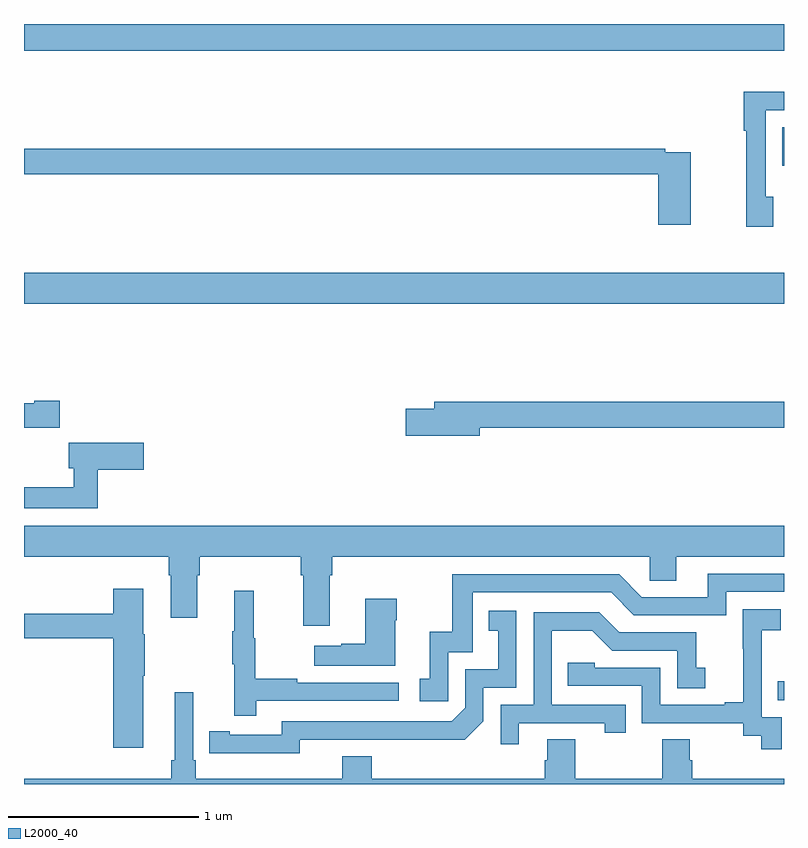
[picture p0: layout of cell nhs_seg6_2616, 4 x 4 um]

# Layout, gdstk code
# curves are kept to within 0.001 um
import gdstk
lib = gdstk.Library(unit=1e-6, precision=1e-09)
def R(c, l, rs):  # rectangles x0, y0, x1, y1
    for r in rs: c.add(gdstk.rectangle(r[:2], r[2:], *l))
def P(c, l, *ps):  # polygons
    for p in ps: c.add(gdstk.Polygon(p, *l))
L2000_40 = (2000, 40)

nhs_seg6_2616 = lib.new_cell('nhs_seg6_2616')
R(nhs_seg6_2616, L2000_40, [(270.967,919.941,271,920.042), (267,922.028,271,922.192), (270.992,922.754,271,922.957), (267,923.36,271,923.5)])
P(nhs_seg6_2616, L2000_40, [(270.943,922.59),(270.903,922.59),(270.903,923.046),(271,923.046),(271,923.144),(270.787,923.144),(270.787,922.939),(270.802,922.939),(270.802,922.434),(270.943,922.434)],
  [(270.508,922.824),(270.374,922.824),(270.374,922.844),(267,922.844),(267,922.708),(270.338,922.708),(270.338,922.443),(270.508,922.443)],
  [(267.187,921.518),(267.054,921.518),(267.054,921.505),(267,921.505),(267,921.376),(267.187,921.376)],
  [(269.398,921.376),(271,921.376),(271,921.512),(269.159,921.512),(269.159,921.476),(269.01,921.476),(269.01,921.334),(269.398,921.334)],
  [(267.389,921.154),(267.631,921.154),(267.631,921.296),(267.235,921.296),(267.235,921.161),(267.261,921.161),(267.261,921.061),(267,921.061),(267,920.952),(267.389,920.952)],
  [(267,920.696),(267.761,920.696),(267.761,920.6),(267.773,920.6),(267.773,920.376),(267.913,920.376),(267.913,920.6),(267.926,920.6),(267.926,920.696),(268.457,920.696),(268.457,920.6),(268.469,920.6),(268.469,920.334),(268.609,920.334),(268.609,920.6),(268.622,920.6),(268.622,920.696),(270.294,920.696),(270.294,920.569),(270.433,920.569),(270.433,920.696),(271,920.696),(271,920.86),(267,920.86)],
  [(269.232,920.193),(269.361,920.193),(269.361,920.508),(270.09,920.508),(270.21,920.388),(270.696,920.388),(270.696,920.511),(271,920.511),(271,920.607),(270.599,920.607),(270.599,920.484),(270.252,920.484),(270.132,920.604),(269.253,920.604),(269.253,920.302),(269.135,920.302),(269.135,920.055),(269.082,920.055),(269.082,919.935),(269.232,919.935)],
  [(267.628,920.071),(267.636,920.071),(267.636,920.289),(267.628,920.289),(267.628,920.527),(267.47,920.527),(267.47,920.395),(267,920.395),(267,920.266),(267.47,920.266),(267.47,919.692),(267.628,919.692)],
  [(268.223,919.938),(268.972,919.938),(268.972,920.034),(268.439,920.034),(268.439,920.054),(268.216,920.054),(268.216,920.268),(268.208,920.268),(268.208,920.518),(268.106,920.518),(268.106,920.305),(268.095,920.305),(268.095,920.131),(268.106,920.131),(268.106,919.86),(268.223,919.86)],
  [(268.954,920.363),(268.962,920.363),(268.962,920.476),(268.796,920.476),(268.796,920.237),(268.67,920.237),(268.67,920.227),(268.527,920.227),(268.527,920.123),(268.954,920.123)],
  [(270.987,919.851),(270.882,919.851),(270.882,920.081),(270.884,920.081),(270.884,920.309),(270.982,920.309),(270.982,920.419),(270.784,920.419),(270.784,920.213),(270.785,920.213),(270.785,919.93),(270.689,919.93),(270.689,919.917),(270.348,919.917),(270.348,920.112),(270.003,920.112),(270.003,920.139),(269.863,920.139),(269.863,920.016),(270.252,920.016),(270.252,919.821),(270.786,919.821),(270.786,919.753),(270.879,919.753),(270.879,919.683),(270.987,919.683)],
  [(268.452,919.734),(269.32,919.733),(269.418,919.83),(269.418,920.007),(269.592,920.007),(269.592,920.413),(269.446,920.413),(269.446,920.307),(269.495,920.307),(269.495,920.103),(269.322,920.103),(269.322,919.902),(269.25,919.83),(268.356,919.83),(268.356,919.758),(268.084,919.758),(268.084,919.778),(267.976,919.778),(267.976,919.662),(268.452,919.661)],
  [(269.605,919.821),(270.056,919.821),(270.056,919.77),(270.167,919.77),(270.167,919.917),(269.778,919.917),(269.778,920.306),(269.992,920.306),(270.096,920.202),(270.438,920.202),(270.438,920.004),(270.586,920.004),(270.586,920.113),(270.537,920.113),(270.537,920.298),(270.133,920.298),(270.028,920.403),(269.682,920.403),(269.682,919.917),(269.508,919.917),(269.508,919.71),(269.605,919.71)],
  [(270.505,919.626),(270.505,919.736),(270.358,919.736),(270.358,919.528),(269.901,919.528),(269.901,919.736),(269.753,919.736),(269.753,919.626),(269.741,919.626),(269.741,919.528),(268.829,919.528),(268.829,919.645),(268.676,919.645),(268.676,919.528),(267.905,919.528),(267.905,919.624),(267.891,919.624),(267.891,919.984),(267.794,919.984),(267.794,919.624),(267.775,919.624),(267.775,919.528),(267,919.528),(267,919.5),(271,919.5),(271,919.528),(270.518,919.528),(270.518,919.626)])

lib.write_gds('nhs_seg6_2616.gds')
